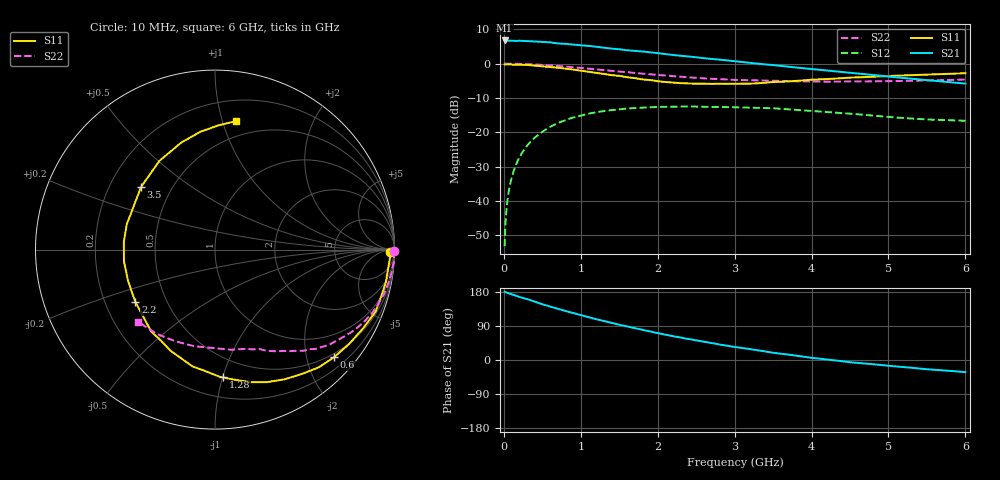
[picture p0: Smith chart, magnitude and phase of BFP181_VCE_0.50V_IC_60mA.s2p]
! Infineon Technologies  Discrete & RF Semiconductors
! BFP181
! VCE = 0.50V,  IC =  60 mA
! Common Emitter S-Parameters:  Jan 2016
# GHz  S  MA  R  50
!  f  S11  S21  S12  S22
! GHz  MAG  ANG  MAG  ANG  MAG  ANG  MAG  ANG
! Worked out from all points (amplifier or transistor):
!   210 points, 10 MHz to 6 GHz, reference 50 ohm
!   highest |S21| = 6.7 dB at 10 MHz (marker M1)
!   |S21| within 3 dB of that: start of sweep to 1.68 GHz
!   unconditionally stable (mu >= 1): 3.051 GHz to end of sweep
!   at 185 MHz: K = 0.08, MSG = 17.4 dB, |S12| = -28.1 dB
!   at 1.52 GHz: K = 0.55, MSG = 8.7 dB, |S12| = -13.3 dB
!   at 6 GHz: K = 1.67, MAG = 0.6 dB, |S12| = -16.6 dB
!   S11 on the Smith chart (normalised r, x): 10 MHz: 60, -33; 600 MHz: 0.42, -2.54; 1.28 GHz: 0.35, -1.00; 2.2 GHz: 0.33, -0.27; 3.5 GHz: 0.33, +0.33; 6 GHz: 0.37, +1.11
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0.01  0.9747 -0.8  2.174 179.8  0.0022 84.4  0.9982 -0.4
0.015  0.9772 -1.1  2.169 179.6  0.0033 86.7  0.9978 -0.6
0.025  0.9789 -1.6  2.163 179.0  0.0056 88.2  0.9973 -1.0
0.05  0.9751 -3.2  2.158 176.8  0.0109 88.9  0.9972 -1.9
0.09  0.9698 -6.4  2.157 174.2  0.0193 85.2  0.9986 -3.4
0.155  0.9687 -11.0  2.138 169.8  0.033 81.9  0.9935 -5.8
0.32  0.9527 -22.5  2.119 159.6  0.0675 73.9  0.9807 -12.0
0.48  0.9164 -33.7  2.078 148.4  0.098 65.9  0.9614 -17.8
0.6  0.8942 -42.1  2.043 141.1  0.12 60.1  0.9441 -22.0
0.8  0.8454 -55.0  1.943 129.4  0.1504 51.3  0.9075 -28.3
1.02  0.7866 -69.9  1.84 117.1  0.1776 42.1  0.8615 -34.7
1.28  0.7131 -86.5  1.718 103.8  0.2023 32.1  0.8109 -41.7
1.62  0.6309 -108.2  1.558 87.6  0.2227 21.8  0.7481 -48.8
2.02  0.5511 -135.3  1.409 70.2  0.2345 11.3  0.6815 -56.0
2.2  0.5312 -146.6  1.334 62.8  0.2369 6.6  0.6573 -59.5
2.8  0.5097 175.1  1.146 41.0  0.2346 -5.7  0.5959 -69.0
3.1  0.5095 159.1  1.056 31.7  0.2296 -11.3  0.5758 -74.1
3.5  0.5401 139.7  0.953 19.1  0.2241 -16.9  0.5654 -80.7
4.1  0.5887 118.9  0.815 3.6  0.2013 -24.1  0.5473 -93.3
4.5  0.6257 107.4  0.738 -5.9  0.1869 -28.3  0.5508 -102.3
5.1  0.6667 95.2  0.632 -17.0  0.1641 -30.0  0.5579 -116.0
6  0.7249 80.8  0.512 -32.0  0.1472 -25.5  0.5874 -136.8
